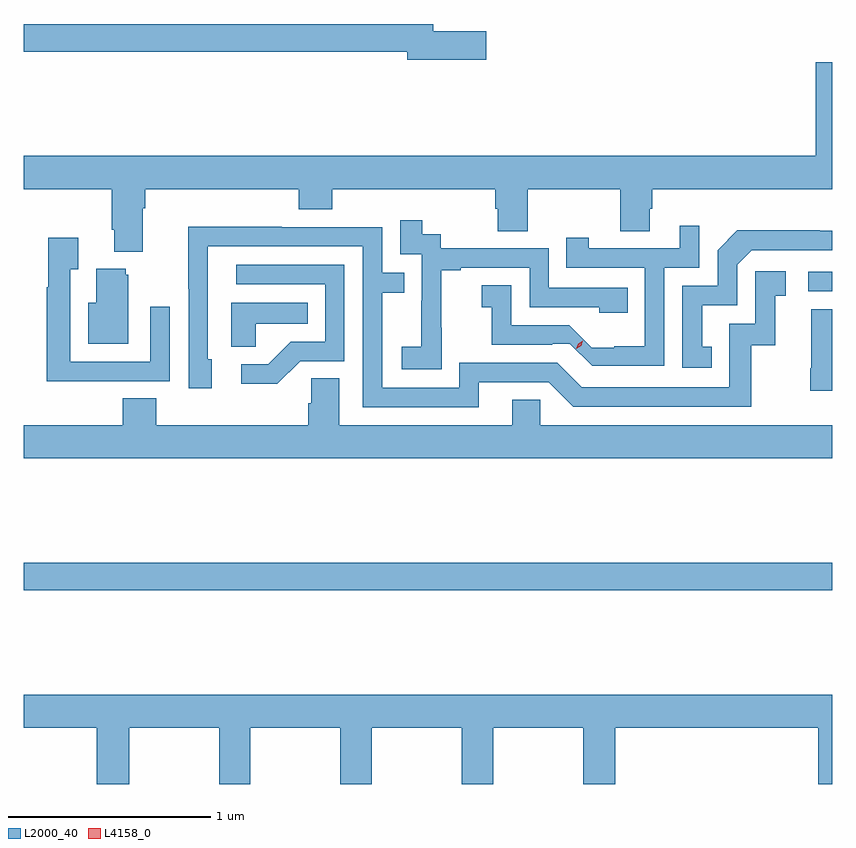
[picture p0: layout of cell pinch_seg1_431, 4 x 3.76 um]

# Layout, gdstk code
import gdstk
lib = gdstk.Library(unit=1e-6, precision=1e-09)
def R(c, l, rs):  # rectangles x0, y0, x1, y1
    for r in rs: c.add(gdstk.rectangle(r[:2], r[2:], *l))
def P(c, l, *ps):  # polygons
    for p in ps: c.add(gdstk.Polygon(p, *l))
L2000_40 = (2000, 40)
L4158_0 = (4158, 0)

pinch_seg1_431 = lib.new_cell('pinch_seg1_431')
R(pinch_seg1_431, L2000_40, [(920.688,520.444,924.688,520.58), (924.567,521.922,924.688,522.018)])
P(pinch_seg1_431, L2000_40, [(922.975,523.208),(922.714,523.208),(922.714,523.244),(920.688,523.244),(920.688,523.108),(922.586,523.108),(922.586,523.066),(922.975,523.066)],
  [(920.688,522.428),(921.125,522.428),(921.125,522.226),(921.137,522.226),(921.137,522.119),(921.277,522.119),(921.277,522.332),(921.29,522.332),(921.29,522.428),(922.049,522.428),(922.049,522.329),(922.214,522.329),(922.214,522.428),(923.021,522.428),(923.021,522.33),(923.033,522.33),(923.033,522.22),(923.181,522.22),(923.181,522.428),(923.638,522.428),(923.638,522.22),(923.785,522.22),(923.785,522.33),(923.798,522.33),(923.798,522.428),(924.688,522.428),(924.688,523.054),(924.605,523.054),(924.605,522.592),(920.688,522.592)],
  [(922.755,521.743),(922.754,521.743),(922.754,522.027),(922.849,522.027),(922.849,522.039),(923.19,522.039),(923.19,521.844),(923.535,521.844),(923.535,521.816),(923.675,521.816),(923.675,521.94),(923.286,521.94),(923.286,522.135),(922.752,522.135),(922.752,522.204),(922.66,522.204),(922.66,522.274),(922.551,522.274),(922.551,522.105),(922.656,522.105),(922.656,521.876),(922.655,521.876),(922.655,521.647),(922.557,521.647),(922.557,521.537),(922.755,521.537)],
  [(923.856,522.039),(924.03,522.039),(924.03,522.246),(923.933,522.246),(923.933,522.135),(923.482,522.135),(923.482,522.187),(923.371,522.187),(923.371,522.039),(923.76,522.039),(923.76,521.65),(923.608,521.65),(923.608,521.643),(923.498,521.643),(923.387,521.754),(923.1,521.754),(923.1,521.953),(922.953,521.953),(922.953,521.843),(923.002,521.843),(923.002,521.658),(923.303,521.658),(923.303,521.664),(923.388,521.664),(923.499,521.553),(923.856,521.553)],
  [(922.939,521.472),(923.286,521.472),(923.406,521.352),(924.286,521.352),(924.286,521.655),(924.404,521.655),(924.404,521.901),(924.457,521.901),(924.457,522.022),(924.306,522.022),(924.306,521.763),(924.177,521.763),(924.177,521.448),(923.448,521.448),(923.328,521.568),(922.842,521.568),(922.842,521.445),(922.461,521.445),(922.461,521.914),(922.571,521.914),(922.571,522.015),(922.461,522.015),(922.461,522.24),(921.965,522.24),(921.965,522.242),(921.502,522.242),(921.502,521.935),(921.504,521.935),(921.504,521.442),(921.619,521.442),(921.619,521.586),(921.6,521.586),(921.6,522.144),(922.365,522.144),(922.365,521.349),(922.939,521.349)],
  [(924.092,521.649),(924.043,521.649),(924.043,521.853),(924.216,521.853),(924.216,522.054),(924.288,522.126),(924.688,522.126),(924.688,522.222),(924.626,522.222),(924.626,522.224),(924.218,522.224),(924.12,522.126),(924.12,521.949),(923.946,521.949),(923.946,521.544),(924.092,521.544)],
  [(921.095,521.478),(921.411,521.478),(921.411,521.847),(921.315,521.847),(921.315,521.574),(920.919,521.574),(920.919,522.031),(920.959,522.031),(920.959,522.187),(920.811,522.187),(920.811,521.942),(920.803,521.942),(920.803,521.477),(921.095,521.477)],
  [(922.056,521.577),(922.275,521.577),(922.275,522.054),(921.741,522.054),(921.741,521.958),(922.179,521.958),(922.179,521.673),(922.01,521.673),(921.899,521.562),(921.765,521.562),(921.765,521.465),(921.943,521.465)],
  [(921.205,522.003),(921.194,522.003),(921.194,522.034),(921.047,522.034),(921.047,521.866),(921.008,521.866),(921.008,521.663),(921.205,521.663)],
  [(921.837,521.762),(922.094,521.762),(922.094,521.866),(921.716,521.866),(921.716,521.647),(921.837,521.647)],
  [(924.688,521.833),(924.584,521.833),(924.584,521.542),(924.577,521.542),(924.577,521.43),(924.688,521.43)],
  [(924.688,521.26),(923.244,521.26),(923.244,521.387),(923.105,521.387),(923.105,521.26),(922.249,521.26),(922.249,521.492),(922.11,521.492),(922.11,521.369),(922.097,521.369),(922.097,521.26),(921.344,521.26),(921.344,521.393),(921.179,521.393),(921.179,521.26),(920.688,521.26),(920.688,521.096),(924.688,521.096)],
  [(921.21,519.764),(921.655,519.764),(921.655,519.486),(921.81,519.486),(921.81,519.764),(922.255,519.764),(922.255,519.486),(922.41,519.486),(922.41,519.764),(922.855,519.764),(922.855,519.486),(923.01,519.486),(923.01,519.764),(923.455,519.764),(923.455,519.486),(923.615,519.486),(923.615,519.764),(924.617,519.764),(924.617,519.486),(924.688,519.486),(924.688,519.928),(920.688,519.928),(920.688,519.764),(921.05,519.764),(921.05,519.486),(921.21,519.486)])
P(pinch_seg1_431, L4158_0, [(923.421,521.638),(923.421,521.639),(923.43,521.664),(923.453,521.678),(923.453,521.678),(923.453,521.677),(923.445,521.652),(923.422,521.638)])

lib.write_gds('pinch_seg1_431.gds')
